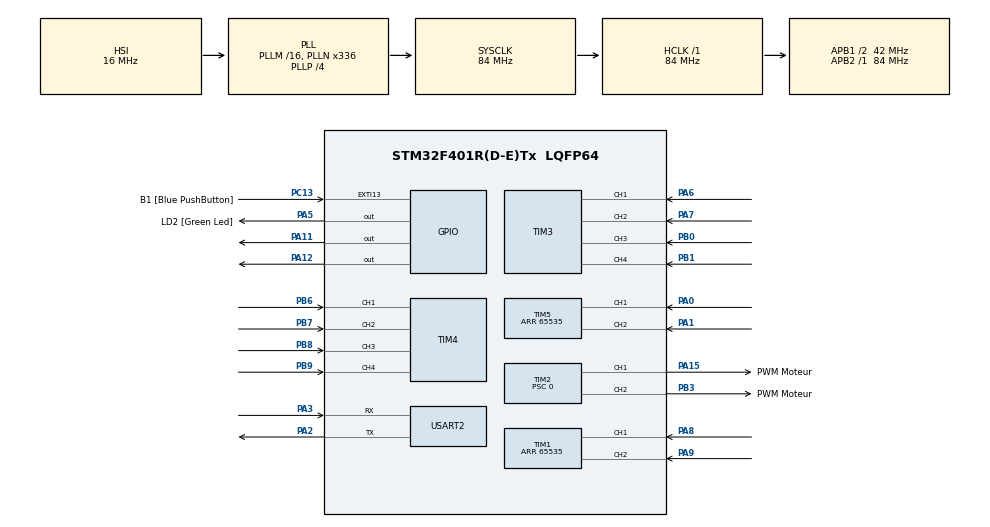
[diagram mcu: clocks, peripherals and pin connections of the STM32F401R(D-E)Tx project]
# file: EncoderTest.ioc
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Dma.Request0=TIM1_UP
Dma.Request1=TIM5_UP
Dma.TIM1_UP.0.Direction=DMA_PERIPH_TO_MEMORY
Dma.TIM1_UP.0.FIFOMode=DMA_FIFOMODE_DISABLE
Dma.TIM1_UP.0.Instance=DMA2_Stream5
Dma.TIM1_UP.0.MemDataAlignment=DMA_MDATAALIGN_HALFWORD
Dma.TIM1_UP.0.MemInc=DMA_MINC_ENABLE
Dma.TIM1_UP.0.Mode=DMA_CIRCULAR
Dma.TIM1_UP.0.PeriphDataAlignment=DMA_PDATAALIGN_HALFWORD
Dma.TIM1_UP.0.PeriphInc=DMA_PINC_DISABLE
Dma.TIM1_UP.0.Priority=DMA_PRIORITY_LOW
Dma.TIM5_UP.1.Direction=DMA_PERIPH_TO_MEMORY
Dma.TIM5_UP.1.FIFOMode=DMA_FIFOMODE_DISABLE
Dma.TIM5_UP.1.Instance=DMA1_Stream6
Dma.TIM5_UP.1.MemDataAlignment=DMA_MDATAALIGN_WORD
Dma.TIM5_UP.1.MemInc=DMA_MINC_ENABLE
Dma.TIM5_UP.1.Mode=DMA_CIRCULAR
Dma.TIM5_UP.1.PeriphDataAlignment=DMA_PDATAALIGN_WORD
Dma.TIM5_UP.1.PeriphInc=DMA_PINC_DISABLE
Dma.TIM5_UP.1.Priority=DMA_PRIORITY_LOW
Mcu.Family=STM32F4
Mcu.Name=STM32F401R(D-E)Tx
Mcu.Package=LQFP64
NVIC.DMA1_Stream6_IRQn=true\:0\:0\:false\:false\:true\:false
NVIC.DMA2_Stream5_IRQn=true\:0\:0\:false\:false\:true\:false
NVIC.PriorityGroup=NVIC_PRIORITYGROUP_0
PA0-WKUP.Signal=S_TIM5_CH1
PA1.Signal=S_TIM5_CH2
PA11.Signal=GPIO_Output
PA12.Signal=GPIO_Output
PA13.GPIO_Label=TMS
PA13.Mode=Serial_Wire
PA13.Signal=SYS_JTMS-SWDIO
PA14.GPIO_Label=TCK
PA14.Mode=Serial_Wire
PA14.Signal=SYS_JTCK-SWCLK
PA15.GPIO_Label=PWM Moteur
PA15.GPIO_PuPd=GPIO_PULLDOWN
PA15.GPIO_Speed=GPIO_SPEED_FREQ_VERY_HIGH
PA15.Signal=S_TIM2_CH1_ETR
PA2.Mode=Asynchronous
PA2.Signal=USART2_TX
PA3.Mode=Asynchronous
PA3.Signal=USART2_RX
PA5.GPIO_Label=LD2 [Green Led]
PA5.GPIO_Mode=GPIO_MODE_OUTPUT_PP
PA5.GPIO_PuPd=GPIO_NOPULL
PA5.GPIO_Speed=GPIO_SPEED_FREQ_LOW
PA5.Signal=GPIO_Output
PA6.Signal=S_TIM3_CH1
PA7.Signal=S_TIM3_CH2
PA8.GPIO_PuPd=GPIO_PULLDOWN
PA8.GPIO_Speed=GPIO_SPEED_FREQ_VERY_HIGH
PA8.Signal=S_TIM1_CH1
PA9.GPIO_PuPd=GPIO_PULLDOWN
PA9.GPIO_Speed=GPIO_SPEED_FREQ_VERY_HIGH
PA9.Signal=S_TIM1_CH2
PB0.Signal=S_TIM3_CH3
PB1.Signal=S_TIM3_CH4
PB3.GPIO_Label=PWM Moteur
PB3.GPIO_PuPd=GPIO_PULLDOWN
PB3.GPIO_Speed=GPIO_SPEED_FREQ_VERY_HIGH
PB3.Signal=S_TIM2_CH2
PB6.Signal=S_TIM4_CH1
PB7.Signal=S_TIM4_CH2
PB8.Signal=S_TIM4_CH3
PB9.Signal=S_TIM4_CH4
PC13-ANTI_TAMP.GPIO_Label=B1 [Blue PushButton]
PC13-ANTI_TAMP.GPIO_ModeDefaultEXTI=GPIO_MODE_IT_FALLING
PC13-ANTI_TAMP.GPIO_PuPd=GPIO_NOPULL
PC13-ANTI_TAMP.Signal=GPXTI13
PC14-OSC32_IN.Mode=LSE-External-Oscillator
PC14-OSC32_IN.Signal=RCC_OSC32_IN
PC15-OSC32_OUT.Mode=LSE-External-Oscillator
PC15-OSC32_OUT.Signal=RCC_OSC32_OUT
PH0\ -\ OSC_IN.Mode=HSE-External-Clock-Source
PH0\ -\ OSC_IN.Signal=RCC_OSC_IN
PH1\ -\ OSC_OUT.Mode=HSE-External-Clock-Source
PH1\ -\ OSC_OUT.Signal=RCC_OSC_OUT
ProjectManager.HeapSize=0x200
ProjectManager.StackSize=0x400
ProjectManager.TargetToolchain=MDK-ARM V5
RCC.48MHZClocksFreq_Value=48000000
RCC.AHBFreq_Value=84000000
RCC.APB1CLKDivider=RCC_HCLK_DIV2
RCC.APB1Freq_Value=42000000
RCC.APB1TimFreq_Value=84000000
RCC.APB2Freq_Value=84000000
RCC.APB2TimFreq_Value=84000000
RCC.CortexFreq_Value=84000000
RCC.HCLKFreq_Value=84000000
RCC.HSE_VALUE=8000000
RCC.HSI_VALUE=16000000
RCC.PLLN=336
RCC.PLLP=RCC_PLLP_DIV4
RCC.PLLQ=7
RCC.SYSCLKFreq_VALUE=84000000
RCC.SYSCLKSource=RCC_SYSCLKSOURCE_PLLCLK
RCC.VCOOutputFreq_Value=336000000
SH.S_TIM1_CH1.0=TIM1_CH1,Encoder_Interface
SH.S_TIM1_CH2.0=TIM1_CH2,Encoder_Interface
SH.S_TIM2_CH1_ETR.0=TIM2_CH1,PWM Generation1 CH1
SH.S_TIM2_CH2.0=TIM2_CH2,PWM Generation2 CH2
SH.S_TIM3_CH1.0=TIM3_CH1,Input_Capture1_from_TI1
SH.S_TIM3_CH2.0=TIM3_CH2,Input_Capture2_from_TI2
SH.S_TIM3_CH3.0=TIM3_CH3,Input_Capture3_from_TI3
SH.S_TIM3_CH4.0=TIM3_CH4,Input_Capture4_from_TI4
SH.S_TIM4_CH1.0=TIM4_CH1,Input_Capture1_from_TI1
SH.S_TIM4_CH2.0=TIM4_CH2,Input_Capture2_from_TI2
SH.S_TIM4_CH3.0=TIM4_CH3,Input_Capture3_from_TI3
SH.S_TIM4_CH4.0=TIM4_CH4,Input_Capture4_from_TI4
SH.S_TIM5_CH1.0=TIM5_CH1,Encoder_Interface
SH.S_TIM5_CH2.0=TIM5_CH2,Encoder_Interface
TIM1.EncoderMode=TIM_ENCODERMODE_TI12
TIM1.IC1Filter=5
TIM1.IC2Filter=5
TIM1.Period=65535
TIM1.TIM_MasterOutputTrigger=TIM_TRGO_UPDATE
TIM1.TIM_MasterSlaveMode=TIM_MASTERSLAVEMODE_DISABLE
TIM2.Channel-PWM\ Generation1\ CH1=TIM_CHANNEL_1
TIM2.Channel-PWM\ Generation2\ CH2=TIM_CHANNEL_2
TIM2.Period=4200
TIM2.Prescaler=0
TIM3.Channel-Input_Capture1_from_TI1=TIM_CHANNEL_1
TIM3.Channel-Input_Capture2_from_TI2=TIM_CHANNEL_2
TIM3.Channel-Input_Capture3_from_TI3=TIM_CHANNEL_3
TIM3.Channel-Input_Capture4_from_TI4=TIM_CHANNEL_4
TIM4.Channel-Input_Capture1_from_TI1=TIM_CHANNEL_1
TIM4.Channel-Input_Capture2_from_TI2=TIM_CHANNEL_2
TIM4.Channel-Input_Capture3_from_TI3=TIM_CHANNEL_3
TIM4.Channel-Input_Capture4_from_TI4=TIM_CHANNEL_4
TIM5.Period=65535
TIM5.TIM_MasterOutputTrigger=TIM_TRGO_UPDATE
USART2.VirtualMode=VM_ASYNC
VP_TIM3_VS_ClockSourceINT.Mode=Internal
VP_TIM9_VS_ClockSourceINT.Mode=Internal
board=NUCLEO-F401RE

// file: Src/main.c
/* USER CODE BEGIN Header */
/**
  ******************************************************************************
  * @file           : main.c
  * @brief          : Main program body
  ******************************************************************************
  ** This notice applies to any and all portions of this file
  * that are not between comment pairs USER CODE BEGIN and
  * USER CODE END. Other portions of this file, whether
  * inserted by the user or by software development tools
  * are owned by their respective copyright owners.
  *
  * COPYRIGHT(c) 2019 STMicroelectronics
  *
  * Redistribution and use in source and binary forms, with or without modification,
  * are permitted provided that the following conditions are met:
  *   1. Redistributions of source code must retain the above copyright notice,
  *      this list of conditions and the following disclaimer.
  *   2. Redistributions in binary form must reproduce the above copyright notice,
  *      this list of conditions and the following disclaimer in the documentation
  *      and/or other materials provided with the distribution.
  *   3. Neither the name of STMicroelectronics nor the names of its contributors
  *      may be used to endorse or promote products derived from this software
  *      without specific prior written permission.
  *
  * THIS SOFTWARE IS PROVIDED BY THE COPYRIGHT HOLDERS AND CONTRIBUTORS "AS IS"
  * AND ANY EXPRESS OR IMPLIED WARRANTIES, INCLUDING, BUT NOT LIMITED TO, THE
  * IMPLIED WARRANTIES OF MERCHANTABILITY AND FITNESS FOR A PARTICULAR PURPOSE ARE
  * DISCLAIMED. IN NO EVENT SHALL THE COPYRIGHT HOLDER OR CONTRIBUTORS BE LIABLE
  * FOR ANY DIRECT, INDIRECT, INCIDENTAL, SPECIAL, EXEMPLARY, OR CONSEQUENTIAL
  * DAMAGES (INCLUDING, BUT NOT LIMITED TO, PROCUREMENT OF SUBSTITUTE GOODS OR
  * SERVICES; LOSS OF USE, DATA, OR PROFITS; OR BUSINESS INTERRUPTION) HOWEVER
  * CAUSED AND ON ANY THEORY OF LIABILITY, WHETHER IN CONTRACT, STRICT LIABILITY,
  * OR TORT (INCLUDING NEGLIGENCE OR OTHERWISE) ARISING IN ANY WAY OUT OF THE USE
  * OF THIS SOFTWARE, EVEN IF ADVISED OF THE POSSIBILITY OF SUCH DAMAGE.
  *
  ******************************************************************************
  */
/* USER CODE END Header */

#include "main.h"

/* USER CODE BEGIN Includes */
#include <stdio.h>

/* USER CODE END Includes */

TIM_HandleTypeDef htim1;
TIM_HandleTypeDef htim2;
TIM_HandleTypeDef htim3;
TIM_HandleTypeDef htim4;
TIM_HandleTypeDef htim5;
TIM_HandleTypeDef htim9;
DMA_HandleTypeDef hdma_tim1_up;
DMA_HandleTypeDef hdma_tim5_up;

UART_HandleTypeDef huart2;

void SystemClock_Config(void);
static void MX_GPIO_Init(void);
static void MX_DMA_Init(void);
static void MX_TIM1_Init(void);
static void MX_TIM3_Init(void);
static void MX_TIM9_Init(void);
static void MX_TIM4_Init(void);
static void MX_TIM5_Init(void);
static void MX_TIM2_Init(void);
static void MX_USART2_UART_Init(void);

/* USER CODE BEGIN 0 */

#ifdef __GNUC__
  /* With GCC/RAISONANCE, small printf (option LD Linker->Libraries->Small printf
     set to 'Yes') calls __io_putchar() */
  #define PUTCHAR_PROTOTYPE int __io_putchar(int ch)
#else
  #define PUTCHAR_PROTOTYPE int fputc(int ch, FILE *f)
#endif /* __GNUC__ */
/**
  * @brief  Retargets the C library printf function to the USART.
  * @param  None
  * @retval None
  */
PUTCHAR_PROTOTYPE
{
  /* Place your implementation of fputc here */
  /* e.g. write a character to the EVAL_COM1 and Loop until the end of transmission */
  HAL_UART_Transmit(&huart2, (uint8_t *)&ch, 1, 0xFFFF);

  return ch;
}

/* USER CODE END 0 */

int main(void)
{

  /* MCU Configuration--------------------------------------------------------*/

  /* Reset of all peripherals, Initializes the Flash interface and the Systick. */
  HAL_Init();

  /* Configure the system clock */
  SystemClock_Config();

  /* Initialize all configured peripherals */
  MX_GPIO_Init();
  MX_DMA_Init();
  MX_TIM1_Init();
  MX_TIM3_Init();
  MX_TIM9_Init();
  MX_TIM4_Init();
  MX_TIM5_Init();
  MX_TIM2_Init();
  MX_USART2_UART_Init();
  /* USER CODE BEGIN 2 */
  //HAL_TIM_Base_Start(&htim1);  //PA9 & PA8 for ch1 and ch2 of encoder by default
	//HAL_TIM_Base_Start(&htim5);  //PA9 & PA8 for ch1 and ch2 of encoder by default
	HAL_TIM_PWM_Start(&htim2,TIM_CHANNEL_1);
	HAL_TIM_PWM_Start(&htim2,TIM_CHANNEL_2);
  /* USER CODE END 2 */

  /* Infinite loop */
  /* USER CODE BEGIN WHILE */
	uint32_t i1[8]={0},i2[8]={0},j1[8]={0},j2[8]={0},j;
	HAL_TIM_Encoder_Start(&htim1,TIM_CHANNEL_ALL);
	HAL_TIM_Encoder_Start(&htim5,TIM_CHANNEL_ALL);
	uint8_t T[5]="Hi";
  while (1)
  {
    /* USER CODE END WHILE */

    /* USER CODE BEGIN 3 */
			 j = TIM5->CNT;
			TIM2->CCR1=0;
		  TIM2->CCR2=0;
		HAL_UART_Transmit(&huart2,T,5,1000);
		HAL_Delay(500);

		if(i1[0]==i2[0]+1&& j==1)
		{
			i1[0] = TIM1->CNT;
			j1[0]=0;
		}

  }
  /* USER CODE END 3 */
}

void SystemClock_Config(void)
{
  RCC_OscInitTypeDef RCC_OscInitStruct = {0};
  RCC_ClkInitTypeDef RCC_ClkInitStruct = {0};

  /**Configure the main internal regulator output voltage
  */
  __HAL_RCC_PWR_CLK_ENABLE();
  __HAL_PWR_VOLTAGESCALING_CONFIG(PWR_REGULATOR_VOLTAGE_SCALE2);
  /**Initializes the CPU, AHB and APB busses clocks
  */
  RCC_OscInitStruct.OscillatorType = RCC_OSCILLATORTYPE_HSI;
  RCC_OscInitStruct.HSIState = RCC_HSI_ON;
  RCC_OscInitStruct.HSICalibrationValue = RCC_HSICALIBRATION_DEFAULT;
  RCC_OscInitStruct.PLL.PLLState = RCC_PLL_ON;
  RCC_OscInitStruct.PLL.PLLSource = RCC_PLLSOURCE_HSI;
  RCC_OscInitStruct.PLL.PLLM = 16;
  RCC_OscInitStruct.PLL.PLLN = 336;
  RCC_OscInitStruct.PLL.PLLP = RCC_PLLP_DIV4;
  RCC_OscInitStruct.PLL.PLLQ = 7;
  if (HAL_RCC_OscConfig(&RCC_OscInitStruct) != HAL_OK)
  {
    Error_Handler();
  }
  /**Initializes the CPU, AHB and APB busses clocks
  */
  RCC_ClkInitStruct.ClockType = RCC_CLOCKTYPE_HCLK|RCC_CLOCKTYPE_SYSCLK
                              |RCC_CLOCKTYPE_PCLK1|RCC_CLOCKTYPE_PCLK2;
  RCC_ClkInitStruct.SYSCLKSource = RCC_SYSCLKSOURCE_PLLCLK;
  RCC_ClkInitStruct.AHBCLKDivider = RCC_SYSCLK_DIV1;
  RCC_ClkInitStruct.APB1CLKDivider = RCC_HCLK_DIV2;
  RCC_ClkInitStruct.APB2CLKDivider = RCC_HCLK_DIV1;

  if (HAL_RCC_ClockConfig(&RCC_ClkInitStruct, FLASH_LATENCY_2) != HAL_OK)
  {
    Error_Handler();
  }
}

static void MX_TIM1_Init(void)
{

  TIM_Encoder_InitTypeDef sConfig = {0};
  TIM_MasterConfigTypeDef sMasterConfig = {0};

  htim1.Instance = TIM1;
  htim1.Init.Prescaler = 0;
  htim1.Init.CounterMode = TIM_COUNTERMODE_UP;
  htim1.Init.Period = 65535;
  htim1.Init.ClockDivision = TIM_CLOCKDIVISION_DIV1;
  htim1.Init.RepetitionCounter = 0;
  sConfig.EncoderMode = TIM_ENCODERMODE_TI12;
  sConfig.IC1Polarity = TIM_ICPOLARITY_RISING;
  sConfig.IC1Selection = TIM_ICSELECTION_DIRECTTI;
  sConfig.IC1Prescaler = TIM_ICPSC_DIV1;
  sConfig.IC1Filter = 5;
  sConfig.IC2Polarity = TIM_ICPOLARITY_RISING;
  sConfig.IC2Selection = TIM_ICSELECTION_DIRECTTI;
  sConfig.IC2Prescaler = TIM_ICPSC_DIV1;
  sConfig.IC2Filter = 5;
  if (HAL_TIM_Encoder_Init(&htim1, &sConfig) != HAL_OK)
  {
    Error_Handler();
  }
  sMasterConfig.MasterOutputTrigger = TIM_TRGO_UPDATE;
  sMasterConfig.MasterSlaveMode = TIM_MASTERSLAVEMODE_DISABLE;
  if (HAL_TIMEx_MasterConfigSynchronization(&htim1, &sMasterConfig) != HAL_OK)
  {
    Error_Handler();
  }

}

static void MX_TIM2_Init(void)
{

  TIM_MasterConfigTypeDef sMasterConfig = {0};
  TIM_OC_InitTypeDef sConfigOC = {0};

  htim2.Instance = TIM2;
  htim2.Init.Prescaler = 0;
  htim2.Init.CounterMode = TIM_COUNTERMODE_UP;
  htim2.Init.Period = 4200;
  htim2.Init.ClockDivision = TIM_CLOCKDIVISION_DIV1;
  if (HAL_TIM_PWM_Init(&htim2) != HAL_OK)
  {
    Error_Handler();
  }
  sMasterConfig.MasterOutputTrigger = TIM_TRGO_RESET;
  sMasterConfig.MasterSlaveMode = TIM_MASTERSLAVEMODE_DISABLE;
  if (HAL_TIMEx_MasterConfigSynchronization(&htim2, &sMasterConfig) != HAL_OK)
  {
    Error_Handler();
  }
  sConfigOC.OCMode = TIM_OCMODE_PWM1;
  sConfigOC.Pulse = 0;
  sConfigOC.OCPolarity = TIM_OCPOLARITY_HIGH;
  sConfigOC.OCFastMode = TIM_OCFAST_DISABLE;
  if (HAL_TIM_PWM_ConfigChannel(&htim2, &sConfigOC, TIM_CHANNEL_1) != HAL_OK)
  {
    Error_Handler();
  }
  if (HAL_TIM_PWM_ConfigChannel(&htim2, &sConfigOC, TIM_CHANNEL_2) != HAL_OK)
  {
    Error_Handler();
  }
  HAL_TIM_MspPostInit(&htim2);

}

static void MX_TIM3_Init(void)
{

  TIM_ClockConfigTypeDef sClockSourceConfig = {0};
  TIM_MasterConfigTypeDef sMasterConfig = {0};
  TIM_IC_InitTypeDef sConfigIC = {0};

  htim3.Instance = TIM3;
  htim3.Init.Prescaler = 0;
  htim3.Init.CounterMode = TIM_COUNTERMODE_UP;
  htim3.Init.Period = 0;
  htim3.Init.ClockDivision = TIM_CLOCKDIVISION_DIV1;
  if (HAL_TIM_Base_Init(&htim3) != HAL_OK)
  {
    Error_Handler();
  }
  sClockSourceConfig.ClockSource = TIM_CLOCKSOURCE_INTERNAL;
  if (HAL_TIM_ConfigClockSource(&htim3, &sClockSourceConfig) != HAL_OK)
  {
    Error_Handler();
  }
  if (HAL_TIM_IC_Init(&htim3) != HAL_OK)
  {
    Error_Handler();
  }
  sMasterConfig.MasterOutputTrigger = TIM_TRGO_RESET;
  sMasterConfig.MasterSlaveMode = TIM_MASTERSLAVEMODE_DISABLE;
  if (HAL_TIMEx_MasterConfigSynchronization(&htim3, &sMasterConfig) != HAL_OK)
  {
    Error_Handler();
  }
  sConfigIC.ICPolarity = TIM_INPUTCHANNELPOLARITY_RISING;
  sConfigIC.ICSelection = TIM_ICSELECTION_DIRECTTI;
  sConfigIC.ICPrescaler = TIM_ICPSC_DIV1;
  sConfigIC.ICFilter = 0;
  if (HAL_TIM_IC_ConfigChannel(&htim3, &sConfigIC, TIM_CHANNEL_1) != HAL_OK)
  {
    Error_Handler();
  }
  if (HAL_TIM_IC_ConfigChannel(&htim3, &sConfigIC, TIM_CHANNEL_2) != HAL_OK)
  {
    Error_Handler();
  }
  if (HAL_TIM_IC_ConfigChannel(&htim3, &sConfigIC, TIM_CHANNEL_3) != HAL_OK)
  {
    Error_Handler();
  }
  if (HAL_TIM_IC_ConfigChannel(&htim3, &sConfigIC, TIM_CHANNEL_4) != HAL_OK)
  {
    Error_Handler();
  }

}

static void MX_TIM4_Init(void)
{

  TIM_MasterConfigTypeDef sMasterConfig = {0};
  TIM_IC_InitTypeDef sConfigIC = {0};

  htim4.Instance = TIM4;
  htim4.Init.Prescaler = 0;
  htim4.Init.CounterMode = TIM_COUNTERMODE_UP;
  htim4.Init.Period = 0;
  htim4.Init.ClockDivision = TIM_CLOCKDIVISION_DIV1;
  if (HAL_TIM_IC_Init(&htim4) != HAL_OK)
  {
    Error_Handler();
  }
  sMasterConfig.MasterOutputTrigger = TIM_TRGO_RESET;
  sMasterConfig.MasterSlaveMode = TIM_MASTERSLAVEMODE_DISABLE;
  if (HAL_TIMEx_MasterConfigSynchronization(&htim4, &sMasterConfig) != HAL_OK)
  {
    Error_Handler();
  }
  sConfigIC.ICPolarity = TIM_INPUTCHANNELPOLARITY_RISING;
  sConfigIC.ICSelection = TIM_ICSELECTION_DIRECTTI;
  sConfigIC.ICPrescaler = TIM_ICPSC_DIV1;
  sConfigIC.ICFilter = 0;
  if (HAL_TIM_IC_ConfigChannel(&htim4, &sConfigIC, TIM_CHANNEL_1) != HAL_OK)
  {
    Error_Handler();
  }
  if (HAL_TIM_IC_ConfigChannel(&htim4, &sConfigIC, TIM_CHANNEL_2) != HAL_OK)
  {
    Error_Handler();
  }
  if (HAL_TIM_IC_ConfigChannel(&htim4, &sConfigIC, TIM_CHANNEL_3) != HAL_OK)
  {
    Error_Handler();
  }
  if (HAL_TIM_IC_ConfigChannel(&htim4, &sConfigIC, TIM_CHANNEL_4) != HAL_OK)
  {
    Error_Handler();
  }

}

static void MX_TIM5_Init(void)
{

  TIM_Encoder_InitTypeDef sConfig = {0};
  TIM_MasterConfigTypeDef sMasterConfig = {0};

  htim5.Instance = TIM5;
  htim5.Init.Prescaler = 0;
  htim5.Init.CounterMode = TIM_COUNTERMODE_UP;
  htim5.Init.Period = 65535;
  htim5.Init.ClockDivision = TIM_CLOCKDIVISION_DIV1;
  sConfig.EncoderMode = TIM_ENCODERMODE_TI1;
  sConfig.IC1Polarity = TIM_ICPOLARITY_RISING;
  sConfig.IC1Selection = TIM_ICSELECTION_DIRECTTI;
  sConfig.IC1Prescaler = TIM_ICPSC_DIV1;
  sConfig.IC1Filter = 0;
  sConfig.IC2Polarity = TIM_ICPOLARITY_RISING;
  sConfig.IC2Selection = TIM_ICSELECTION_DIRECTTI;
  sConfig.IC2Prescaler = TIM_ICPSC_DIV1;
  sConfig.IC2Filter = 0;
  if (HAL_TIM_Encoder_Init(&htim5, &sConfig) != HAL_OK)
  {
    Error_Handler();
  }
  sMasterConfig.MasterOutputTrigger = TIM_TRGO_UPDATE;
  sMasterConfig.MasterSlaveMode = TIM_MASTERSLAVEMODE_DISABLE;
  if (HAL_TIMEx_MasterConfigSynchronization(&htim5, &sMasterConfig) != HAL_OK)
  {
    Error_Handler();
  }

}

static void MX_TIM9_Init(void)
{

  TIM_ClockConfigTypeDef sClockSourceConfig = {0};

  htim9.Instance = TIM9;
  htim9.Init.Prescaler = 0;
  htim9.Init.CounterMode = TIM_COUNTERMODE_UP;
  htim9.Init.Period = 0;
  htim9.Init.ClockDivision = TIM_CLOCKDIVISION_DIV1;
  if (HAL_TIM_Base_Init(&htim9) != HAL_OK)
  {
    Error_Handler();
  }
  sClockSourceConfig.ClockSource = TIM_CLOCKSOURCE_INTERNAL;
  if (HAL_TIM_ConfigClockSource(&htim9, &sClockSourceConfig) != HAL_OK)
  {
    Error_Handler();
  }

}

static void MX_USART2_UART_Init(void)
{

  huart2.Instance = USART2;
  huart2.Init.BaudRate = 115200;
  huart2.Init.WordLength = UART_WORDLENGTH_8B;
  huart2.Init.StopBits = UART_STOPBITS_1;
  huart2.Init.Parity = UART_PARITY_NONE;
  huart2.Init.Mode = UART_MODE_TX_RX;
  huart2.Init.HwFlowCtl = UART_HWCONTROL_NONE;
  huart2.Init.OverSampling = UART_OVERSAMPLING_16;
  if (HAL_UART_Init(&huart2) != HAL_OK)
  {
    Error_Handler();
  }

}

static void MX_DMA_Init(void)
{
  /* DMA controller clock enable */
  __HAL_RCC_DMA2_CLK_ENABLE();
  __HAL_RCC_DMA1_CLK_ENABLE();

  /* DMA interrupt init */
  /* DMA1_Stream6_IRQn interrupt configuration */
  HAL_NVIC_SetPriority(DMA1_Stream6_IRQn, 0, 0);
  HAL_NVIC_EnableIRQ(DMA1_Stream6_IRQn);
  /* DMA2_Stream5_IRQn interrupt configuration */
  HAL_NVIC_SetPriority(DMA2_Stream5_IRQn, 0, 0);
  HAL_NVIC_EnableIRQ(DMA2_Stream5_IRQn);

}

static void MX_GPIO_Init(void)
{
  GPIO_InitTypeDef GPIO_InitStruct = {0};

  /* GPIO Ports Clock Enable */
  __HAL_RCC_GPIOC_CLK_ENABLE();
  __HAL_RCC_GPIOH_CLK_ENABLE();
  __HAL_RCC_GPIOA_CLK_ENABLE();
  __HAL_RCC_GPIOB_CLK_ENABLE();

  /*Configure GPIO pin Output Level */
  HAL_GPIO_WritePin(GPIOA, LD2_Pin|GPIO_PIN_11|GPIO_PIN_12, GPIO_PIN_RESET);

  /*Configure GPIO pin : B1_Pin */
  GPIO_InitStruct.Pin = B1_Pin;
  GPIO_InitStruct.Mode = GPIO_MODE_IT_FALLING;
  GPIO_InitStruct.Pull = GPIO_NOPULL;
  HAL_GPIO_Init(B1_GPIO_Port, &GPIO_InitStruct);

  /*Configure GPIO pins : LD2_Pin PA11 PA12 */
  GPIO_InitStruct.Pin = LD2_Pin|GPIO_PIN_11|GPIO_PIN_12;
  GPIO_InitStruct.Mode = GPIO_MODE_OUTPUT_PP;
  GPIO_InitStruct.Pull = GPIO_NOPULL;
  GPIO_InitStruct.Speed = GPIO_SPEED_FREQ_LOW;
  HAL_GPIO_Init(GPIOA, &GPIO_InitStruct);

}

/* USER CODE BEGIN 4 */
int __io_putchar(int ch)
{
 uint8_t c[1];
 c[0] = ch & 0x00FF;
 HAL_UART_Transmit(&huart2, &*c, 1, 10);
 return ch;
}

int _write(int file,char *ptr, int len)
{
 int DataIdx;
 for(DataIdx= 0; DataIdx< len; DataIdx++)
 {
 __io_putchar(*ptr++);
 }
return len;
}
/* USER CODE END 4 */

void Error_Handler(void)
{
}

/************************ (C) COPYRIGHT STMicroelectronics *****END OF FILE****/
